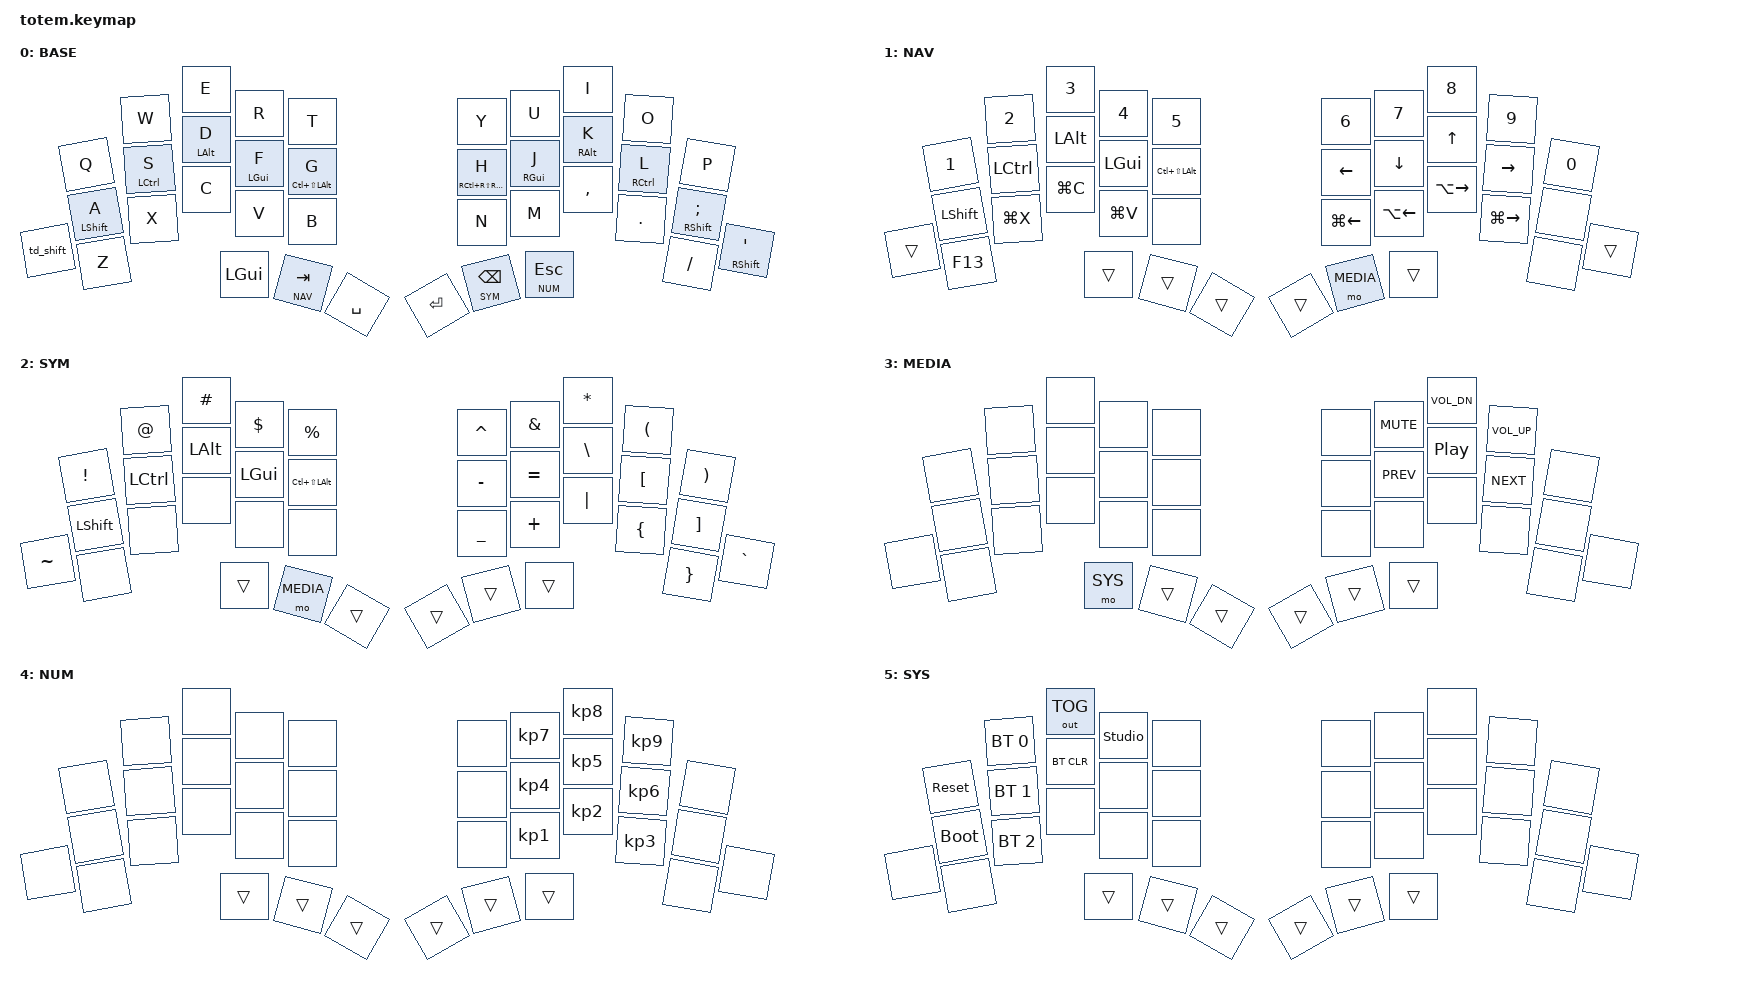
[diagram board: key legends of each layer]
//
//                                                        ▀▀▀▀▀     ▀▀▀▀▀          ▀▀█▀▀
//                                                        ▄▀▀▀▄  ▄  ▄▀▀▀▄  ▄  ▄▀▀▀▄  █  ▄▀▀▀▄
//                                                        █   █  █  █   █  █  █   █  █  █   █
//                                                         ▀▀▀   █   ▀▀▀   █   ▀▀▀   ▀   ▀▀▀
//                                                               █      ▄▄▄█▄▄▄    █   █  
//                                                               ▀      █  █  █     █▄█
//                                                             ▀▀▀▀▀    █  █  █      ▀
//                                                                      ▀  ▀  ▀
//
// ▄▄▄▄▄▄▄▄▄▄▄▄▄▄▄▄▄▄▄▄▄▄▄▄▄▄▄▄▄▄▄▄▄▄▄▄▄▄▄▄▄▄▄▄▄▄▄▄▄▄▄▄▄▄▄▄▄▄▄▄▄▄▄▄▄▄▄▄▄▄▄▄▄▄▄▄▄▄▄▄▄▄▄▄▄▄▄▄▄▄▄▄▄▄▄▄▄▄▄▄▄▄▄▄▄▄▄▄▄▄▄▄▄▄▄▄▄▄▄▄▄▄▄▄▄▄▄▄▄▄▄▄▄▄▄▄▄▄▄▄▄▄▄▄▄▄▄▄▄

#include <behaviors.dtsi>
#include <dt-bindings/zmk/keys.h>
#include <dt-bindings/zmk/bt.h>
#include <dt-bindings/zmk/outputs.h>

#define BASE  0
#define NAV   1
#define SYM   2
#define MEDIA 3
#define NUM   4
#define SYS   5

// mod-tap settings for HRM
&mt {
  tapping-term-ms = <170>;
  quick-tap-ms = <200>;
  require-prior-idle-ms = <100>;
  flavor = "tap-preferred";
};

// layer-tap settings for thumb cluster
&lt {
  tapping-term-ms = <170>;
  quick-tap-ms = <200>;
  flavor = "hold-preferred";
};

/ {
     combos {
            compatible = "zmk,combos";
            combo_esc {
                timeout-ms = <50>;
                key-positions = <0 1>;
                bindings = <&kp ESC>;
                layers = <BASE>; 
            };
            combo_capsword {
                timeout-ms = <50>;
                key-positions = <10 19>;
                bindings = <&caps_word>;
                layers = <BASE>;
            };
    };

    behaviors {
      td_shift: td_shift {
        compatible = "zmk,behavior-tap-dance";
        #binding-cells = <0>;
        bindings = <&kp LSHFT>, <&caps_word>;
      };
    };

    macros {
        gif: gif {
            label = "giphy";
            compatible = "zmk,behavior-macro";
            #binding-cells = <0>;
            bindings
                = <&macro_press &kp LSHFT>
                , <&macro_tap &kp N2>
                , <&macro_release &kp LSHFT>
                , <&macro_tap &kp G &kp I &kp F>
                ;
        };
    };

        keymap {
                compatible = "zmk,keymap";
// ▄▄▄▄▄▄▄▄▄▄▄▄▄▄▄▄▄▄▄▄▄▄▄▄▄▄▄▄▄▄▄▄▄▄▄▄▄▄▄▄▄▄▄▄▄▄▄▄▄▄▄▄▄▄▄▄▄▄▄▄▄▄▄▄▄▄▄▄▄▄▄▄▄▄▄▄▄▄▄▄▄▄▄▄▄▄▄▄▄▄▄▄▄▄▄▄▄▄▄▄▄▄▄▄▄▄▄▄▄▄▄▄▄▄▄▄▄▄▄▄▄▄▄▄▄▄▄▄▄▄▄▄▄▄▄▄▄▄▄▄▄▄▄▄▄▄▄▄▄

                base_layer {
// ┏━━━━━━━━━━━━━━━━━━━━━━━━━━━━━━━━━━━━━━━┓
label= "BASE"                              ;
// ┗━━━━━━━━━━━━━━━━━━━━━━━━━━━━━━━━━━━━━━━┛
//             ┏━━━━━━━━━━━┳━━━━━━━━━━━┳━━━━━━━━━━━┳━━━━━━━━━━━┳━━━━━━━━━━━┓   ┏━━━━━━━━━━━┳━━━━━━━━━━━┳━━━━━━━━━━━┳━━━━━━━━━━━┳━━━━━━━━━━━┓
//             ┃     Q     ┃     W     ┃     E     ┃     R     ┃     T     ┃   ┃     Y     ┃     U     ┃     I     ┃     O     ┃     P     ┃
//             ┣━━━━━━━━━━━╋━━━━━━━━━━━╋━━━━━━━━━━━╋━━━━━━━━━━━╋━━━━━━━━━━━┫   ┣━━━━━━━━━━━╋━━━━━━━━━━━╋━━━━━━━━━━━╋━━━━━━━━━━━╋━━━━━━━━━━━┫
//             ┃   A/SFT   ┃   S/CTL   ┃   D/ALT   ┃   F/GUI   ┃   G/MEH   ┃   ┃   H/MEH   ┃   J/GUI   ┃   K/ALT   ┃   L/CTL   ┃   ;/SFT   ┃
// ┏━━━━━━━━━━━╋━━━━━━━━━━━╋━━━━━━━━━━━╋━━━━━━━━━━━╋━━━━━━━━━━━╋━━━━━━━━━━━┫   ┣━━━━━━━━━━━╋━━━━━━━━━━━╋━━━━━━━━━━━╋━━━━━━━━━━━╋━━━━━━━━━━━╋━━━━━━━━━━━┓
// ┃   SHFT    ┃     Z     ┃     X     ┃     C     ┃     V     ┃     B     ┃   ┃     N     ┃     M     ┃     ,     ┃     .     ┃     /     ┃  '/SFT   ┃
// ┗━━━━━━━━━━━┻━━━━━━━━━━━┻━━━━━━━━━━━╋━━━━━━━━━━━╋━━━━━━━━━━━╋━━━━━━━━━━━┫   ┣━━━━━━━━━━━╋━━━━━━━━━━━╋━━━━━━━━━━━╋━━━━━━━━━━━┻━━━━━━━━━━━┻━━━━━━━━━━━┛
//                                     ┃    CMD    ┃  TAB/NAV  ┃    SPC    ┃   ┃   ENTER   ┃  BSPC/SYM ┃  ESC/NUM  ┃
//                                     ┗━━━━━━━━━━━┻━━━━━━━━━━━┻━━━━━━━━━━━┛   ┗━━━━━━━━━━━┻━━━━━━━━━━━┻━━━━━━━━━━━┛
 bindings = <
// ╷           ╷           ╷           ╷           ╷           ╷           ╷   ╷           ╷           ╷           ╷           ╷           ╷           ╷

                &kp Q       &kp W       &kp E       &kp R       &kp T           &kp Y       &kp U       &kp I       &kp O       &kp P
                &mt LSHFT A &mt LCTRL S &mt LALT D  &mt LGUI F  &mt LC(LS(LALT)) G   &mt RC(RS(RALT)) H &mt RGUI J  &mt RALT K  &mt RCTRL L &mt RSHFT SEMI
    &td_shift   &kp Z       &kp X       &kp C       &kp V       &kp B           &kp N       &kp M       &kp COMMA   &kp DOT     &kp FSLH    &mt RSHFT SQT
                                        &kp LGUI    &lt NAV TAB &kp SPACE       &kp RET     &lt SYM BSPC &lt NUM ESC
                        >;
                };

// ▄▄▄▄▄▄▄▄▄▄▄▄▄▄▄▄▄▄▄▄▄▄▄▄▄▄▄▄▄▄▄▄▄▄▄▄▄▄▄▄▄▄▄▄▄▄▄▄▄▄▄▄▄▄▄▄▄▄▄▄▄▄▄▄▄▄▄▄▄▄▄▄▄▄▄▄▄▄▄▄▄▄▄▄▄▄▄▄▄▄▄▄▄▄▄▄▄▄▄▄▄▄▄▄▄▄▄▄▄▄▄▄▄▄▄▄▄▄▄▄▄▄▄▄▄▄▄▄▄▄▄▄▄▄▄▄▄▄▄▄▄▄▄▄▄▄▄▄▄


                nav_layer {
// ┏━━━━━━━━━━━━━━━━━━━━━━━━━━━━━━━━━━━━━━━┓
label= "NAV"                              ;
// ┗━━━━━━━━━━━━━━━━━━━━━━━━━━━━━━━━━━━━━━━┛
//             ┏━━━━━━━━━━━┳━━━━━━━━━━━┳━━━━━━━━━━━┳━━━━━━━━━━━┳━━━━━━━━━━━┓   ┏━━━━━━━━━━━┳━━━━━━━━━━━┳━━━━━━━━━━━┳━━━━━━━━━━━┳━━━━━━━━━━━┓
//             ┃     1     ┃     2     ┃     3     ┃     4     ┃     5     ┃   ┃     6     ┃     7     ┃     8     ┃     9     ┃     0     ┃
//             ┣━━━━━━━━━━━╋━━━━━━━━━━━╋━━━━━━━━━━━╋━━━━━━━━━━━╋━━━━━━━━━━━┫   ┣━━━━━━━━━━━╋━━━━━━━━━━━╋━━━━━━━━━━━╋━━━━━━━━━━━╋━━━━━━━━━━━┫
//             ┃    SFT    ┃    CTL    ┃    ALT    ┃    GUI    ┃    MEH    ┃   ┃   LEFT    ┃   DOWN    ┃    UP     ┃   RIGHT   ┃           ┃
// ┏━━━━━━━━━━━╋━━━━━━━━━━━╋━━━━━━━━━━━╋━━━━━━━━━━━╋━━━━━━━━━━━╋━━━━━━━━━━━┫   ┣━━━━━━━━━━━╋━━━━━━━━━━━╋━━━━━━━━━━━╋━━━━━━━━━━━╋━━━━━━━━━━━╋━━━━━━━━━━━┓
// ┃           ┃    F13    ┃   CMD+X   ┃   CMD+C   ┃   CMD+V   ┃           ┃   ┃   GUI←    ┃   ALT←    ┃   ALT→    ┃   GUI→    ┃           ┃           ┃
// ┗━━━━━━━━━━━┻━━━━━━━━━━━┻━━━━━━━━━━━╋━━━━━━━━━━━╋━━━━━━━━━━━╋━━━━━━━━━━━┫   ┣━━━━━━━━━━━╋━━━━━━━━━━━╋━━━━━━━━━━━╋━━━━━━━━━━━┻━━━━━━━━━━━┻━━━━━━━━━━━┛
//                                     ┃           ┃           ┃           ┃   ┃           ┃   MEDIA   ┃           ┃
//                                     ┗━━━━━━━━━━━┻━━━━━━━━━━━┻━━━━━━━━━━━┛   ┗━━━━━━━━━━━┻━━━━━━━━━━━┻━━━━━━━━━━━┛
 bindings = <
// ╷           ╷           ╷           ╷           ╷           ╷           ╷   ╷           ╷           ╷           ╷           ╷           ╷           ╷

                &kp N1      &kp N2      &kp N3      &kp N4      &kp N5          &kp N6      &kp N7      &kp N8      &kp N9      &kp N0
                &kp LSHFT   &kp LCTRL   &kp LALT    &kp LGUI    &kp LC(LS(LALT)) &kp LEFT   &kp DOWN    &kp UP      &kp RIGHT   &none
    &trans      &kp F13     &kp LG(X)   &kp LG(C)   &kp LG(V)   &none           &kp LG(LEFT) &kp LA(LEFT) &kp LA(RIGHT) &kp LG(RIGHT) &none    &trans
                                        &trans      &trans      &trans          &trans      &mo MEDIA   &trans
                        >;
                };

// ▄▄▄▄▄▄▄▄▄▄▄▄▄▄▄▄▄▄▄▄▄▄▄▄▄▄▄▄▄▄▄▄▄▄▄▄▄▄▄▄▄▄▄▄▄▄▄▄▄▄▄▄▄▄▄▄▄▄▄▄▄▄▄▄▄▄▄▄▄▄▄▄▄▄▄▄▄▄▄▄▄▄▄▄▄▄▄▄▄▄▄▄▄▄▄▄▄▄▄▄▄▄▄▄▄▄▄▄▄▄▄▄▄▄▄▄▄▄▄▄▄▄▄▄▄▄▄▄▄▄▄▄▄▄▄▄▄▄▄▄▄▄▄▄▄▄▄▄▄


                sym_layer {
// ┏━━━━━━━━━━━━━━━━━━━━━━━━━━━━━━━━━━━━━━━┓
label= "SYM"                               ;
// ┗━━━━━━━━━━━━━━━━━━━━━━━━━━━━━━━━━━━━━━━┛
//             ┏━━━━━━━━━━━┳━━━━━━━━━━━┳━━━━━━━━━━━┳━━━━━━━━━━━┳━━━━━━━━━━━┓   ┏━━━━━━━━━━━┳━━━━━━━━━━━┳━━━━━━━━━━━┳━━━━━━━━━━━┳━━━━━━━━━━━┓
//             ┃     !     ┃     @     ┃     #     ┃     $     ┃     %     ┃   ┃     ^     ┃     &     ┃     *     ┃     (     ┃     )     ┃
//             ┣━━━━━━━━━━━╋━━━━━━━━━━━╋━━━━━━━━━━━╋━━━━━━━━━━━╋━━━━━━━━━━━┫   ┣━━━━━━━━━━━╋━━━━━━━━━━━╋━━━━━━━━━━━╋━━━━━━━━━━━╋━━━━━━━━━━━┫
//             ┃    SFT    ┃    CTL    ┃    ALT    ┃    GUI    ┃    MEH    ┃   ┃     -     ┃     =     ┃     \     ┃     [     ┃     ]     ┃
// ┏━━━━━━━━━━━╋━━━━━━━━━━━╋━━━━━━━━━━━╋━━━━━━━━━━━╋━━━━━━━━━━━╋━━━━━━━━━━━┫   ┣━━━━━━━━━━━╋━━━━━━━━━━━╋━━━━━━━━━━━╋━━━━━━━━━━━╋━━━━━━━━━━━╋━━━━━━━━━━━┓
// ┃     ~     ┃           ┃           ┃           ┃           ┃           ┃   ┃     _     ┃     +     ┃     |     ┃     {     ┃     }     ┃     `     ┃
// ┗━━━━━━━━━━━┻━━━━━━━━━━━┻━━━━━━━━━━━╋━━━━━━━━━━━╋━━━━━━━━━━━╋━━━━━━━━━━━┫   ┣━━━━━━━━━━━╋━━━━━━━━━━━╋━━━━━━━━━━━╋━━━━━━━━━━━┻━━━━━━━━━━━┻━━━━━━━━━━━┛
//                                     ┃           ┃   MEDIA   ┃           ┃   ┃           ┃           ┃           ┃
//                                     ┗━━━━━━━━━━━┻━━━━━━━━━━━┻━━━━━━━━━━━┛   ┗━━━━━━━━━━━┻━━━━━━━━━━━┻━━━━━━━━━━━┛
 bindings = <
// ╷           ╷           ╷           ╷           ╷           ╷           ╷   ╷           ╷           ╷           ╷           ╷           ╷           ╷

                &kp EXCL    &kp AT      &kp HASH    &kp DLLR    &kp PRCNT       &kp CARET   &kp AMPS    &kp ASTRK   &kp LPAR    &kp RPAR
                &kp LSHFT   &kp LCTRL   &kp LALT    &kp LGUI    &kp LC(LS(LALT)) &kp MINUS  &kp EQUAL   &kp BSLH    &kp LBKT    &kp RBKT
    &kp TILDE   &none       &none       &none       &none       &none           &kp UNDER   &kp PLUS    &kp PIPE    &kp LBRC    &kp RBRC    &kp GRAVE
                                        &trans      &mo MEDIA   &trans          &trans      &trans      &trans
                        >;
                };

// ▄▄▄▄▄▄▄▄▄▄▄▄▄▄▄▄▄▄▄▄▄▄▄▄▄▄▄▄▄▄▄▄▄▄▄▄▄▄▄▄▄▄▄▄▄▄▄▄▄▄▄▄▄▄▄▄▄▄▄▄▄▄▄▄▄▄▄▄▄▄▄▄▄▄▄▄▄▄▄▄▄▄▄▄▄▄▄▄▄▄▄▄▄▄▄▄▄▄▄▄▄▄▄▄▄▄▄▄▄▄▄▄▄▄▄▄▄▄▄▄▄▄▄▄▄▄▄▄▄▄▄▄▄▄▄▄▄▄▄▄▄▄▄▄▄▄▄▄▄


                media_layer {
// ┏━━━━━━━━━━━━━━━━━━━━━━━━━━━━━━━━━━━━━━━┓
label= "MEDIA"                             ;
// ┗━━━━━━━━━━━━━━━━━━━━━━━━━━━━━━━━━━━━━━━┛
//             ┏━━━━━━━━━━━┳━━━━━━━━━━━┳━━━━━━━━━━━┳━━━━━━━━━━━┳━━━━━━━━━━━┓   ┏━━━━━━━━━━━┳━━━━━━━━━━━┳━━━━━━━━━━━┳━━━━━━━━━━━┳━━━━━━━━━━━┓
//             ┃           ┃           ┃           ┃           ┃           ┃   ┃           ┃   MUTE    ┃   VOL-    ┃   VOL+    ┃           ┃
//             ┣━━━━━━━━━━━╋━━━━━━━━━━━╋━━━━━━━━━━━╋━━━━━━━━━━━╋━━━━━━━━━━━┫   ┣━━━━━━━━━━━╋━━━━━━━━━━━╋━━━━━━━━━━━╋━━━━━━━━━━━╋━━━━━━━━━━━┫
//             ┃           ┃           ┃           ┃           ┃           ┃   ┃           ┃   PREV    ┃   PLAY    ┃   NEXT    ┃           ┃
// ┏━━━━━━━━━━━╋━━━━━━━━━━━╋━━━━━━━━━━━╋━━━━━━━━━━━╋━━━━━━━━━━━╋━━━━━━━━━━━┫   ┣━━━━━━━━━━━╋━━━━━━━━━━━╋━━━━━━━━━━━╋━━━━━━━━━━━╋━━━━━━━━━━━╋━━━━━━━━━━━┓
// ┃           ┃           ┃           ┃           ┃           ┃           ┃   ┃           ┃           ┃           ┃           ┃           ┃           ┃
// ┗━━━━━━━━━━━┻━━━━━━━━━━━┻━━━━━━━━━━━╋━━━━━━━━━━━╋━━━━━━━━━━━╋━━━━━━━━━━━┫   ┣━━━━━━━━━━━╋━━━━━━━━━━━╋━━━━━━━━━━━╋━━━━━━━━━━━┻━━━━━━━━━━━┻━━━━━━━━━━━┛
//                                     ┃    SYS    ┃           ┃           ┃   ┃           ┃           ┃           ┃
//                                     ┗━━━━━━━━━━━┻━━━━━━━━━━━┻━━━━━━━━━━━┛   ┗━━━━━━━━━━━┻━━━━━━━━━━━┻━━━━━━━━━━━┛
 bindings = <
// ╷           ╷           ╷           ╷           ╷           ╷           ╷   ╷           ╷           ╷           ╷           ╷           ╷           ╷

                &none       &none       &none       &none       &none           &none       &kp C_MUTE  &kp C_VOL_DN &kp C_VOL_UP &none
                &none       &none       &none       &none       &none           &none       &kp C_PREV  &kp C_PP    &kp C_NEXT  &none
    &none       &none       &none       &none       &none       &none           &none       &none       &none       &none       &none       &none
                                         &mo SYS    &trans     &trans          &trans      &trans      &trans
                        >;
                };

// ▄▄▄▄▄▄▄▄▄▄▄▄▄▄▄▄▄▄▄▄▄▄▄▄▄▄▄▄▄▄▄▄▄▄▄▄▄▄▄▄▄▄▄▄▄▄▄▄▄▄▄▄▄▄▄▄▄▄▄▄▄▄▄▄▄▄▄▄▄▄▄▄▄▄▄▄▄▄▄▄▄▄▄▄▄▄▄▄▄▄▄▄▄▄▄▄▄▄▄▄▄▄▄▄▄▄▄▄▄▄▄▄▄▄▄▄▄▄▄▄▄▄▄▄▄▄▄▄▄▄▄▄▄▄▄▄▄▄▄▄▄▄▄▄▄▄▄▄▄


                num_layer {
// ┏━━━━━━━━━━━━━━━━━━━━━━━━━━━━━━━━━━━━━━━┓
label= "NUM"                               ;
// ┗━━━━━━━━━━━━━━━━━━━━━━━━━━━━━━━━━━━━━━━┛
//             ┏━━━━━━━━━━━┳━━━━━━━━━━━┳━━━━━━━━━━━┳━━━━━━━━━━━┳━━━━━━━━━━━┓   ┏━━━━━━━━━━━┳━━━━━━━━━━━┳━━━━━━━━━━━┳━━━━━━━━━━━┳━━━━━━━━━━━┓
//             ┃           ┃           ┃           ┃           ┃           ┃   ┃           ┃     7     ┃     8     ┃     9     ┃           ┃
//             ┣━━━━━━━━━━━╋━━━━━━━━━━━╋━━━━━━━━━━━╋━━━━━━━━━━━╋━━━━━━━━━━━┫   ┣━━━━━━━━━━━╋━━━━━━━━━━━╋━━━━━━━━━━━╋━━━━━━━━━━━╋━━━━━━━━━━━┫
//             ┃           ┃           ┃           ┃           ┃           ┃   ┃           ┃     4     ┃     5     ┃     6     ┃           ┃
// ┏━━━━━━━━━━━╋━━━━━━━━━━━╋━━━━━━━━━━━╋━━━━━━━━━━━╋━━━━━━━━━━━╋━━━━━━━━━━━┫   ┣━━━━━━━━━━━╋━━━━━━━━━━━╋━━━━━━━━━━━╋━━━━━━━━━━━╋━━━━━━━━━━━╋━━━━━━━━━━━┓
// ┃           ┃           ┃           ┃           ┃           ┃           ┃   ┃           ┃     1     ┃     2     ┃     3     ┃           ┃           ┃
// ┗━━━━━━━━━━━┻━━━━━━━━━━━┻━━━━━━━━━━━╋━━━━━━━━━━━╋━━━━━━━━━━━╋━━━━━━━━━━━┫   ┣━━━━━━━━━━━╋━━━━━━━━━━━╋━━━━━━━━━━━╋━━━━━━━━━━━┻━━━━━━━━━━━┻━━━━━━━━━━━┛
//                                     ┃           ┃           ┃           ┃   ┃           ┃           ┃           ┃
//                                     ┗━━━━━━━━━━━┻━━━━━━━━━━━┻━━━━━━━━━━━┛   ┗━━━━━━━━━━━┻━━━━━━━━━━━┻━━━━━━━━━━━┛
 bindings = <
// ╷           ╷           ╷           ╷           ╷           ╷           ╷   ╷           ╷           ╷           ╷           ╷           ╷           ╷

                &none       &none       &none       &none       &none           &none       &kp KP_N7   &kp KP_N8   &kp KP_N9   &none
                &none       &none       &none       &none       &none           &none       &kp KP_N4   &kp KP_N5   &kp KP_N6   &none
    &none       &none       &none       &none       &none       &none           &none       &kp KP_N1   &kp KP_N2   &kp KP_N3   &none       &none
                                        &trans      &trans      &trans          &trans      &trans      &trans
                        >;
                };

// ▄▄▄▄▄▄▄▄▄▄▄▄▄▄▄▄▄▄▄▄▄▄▄▄▄▄▄▄▄▄▄▄▄▄▄▄▄▄▄▄▄▄▄▄▄▄▄▄▄▄▄▄▄▄▄▄▄▄▄▄▄▄▄▄▄▄▄▄▄▄▄▄▄▄▄▄▄▄▄▄▄▄▄▄▄▄▄▄▄▄▄▄▄▄▄▄▄▄▄▄▄▄▄▄▄▄▄▄▄▄▄▄▄▄▄▄▄▄▄▄▄▄▄▄▄▄▄▄▄▄▄▄▄▄▄▄▄▄▄▄▄▄▄▄▄▄▄▄▄


                sys_layer {
// ┏━━━━━━━━━━━━━━━━━━━━━━━━━━━━━━━━━━━━━━━┓
label= "SYS"                               ;
// ┗━━━━━━━━━━━━━━━━━━━━━━━━━━━━━━━━━━━━━━━┛
//             ┏━━━━━━━━━━━┳━━━━━━━━━━━┳━━━━━━━━━━━┳━━━━━━━━━━━┳━━━━━━━━━━━┓   ┏━━━━━━━━━━━┳━━━━━━━━━━━┳━━━━━━━━━━━┳━━━━━━━━━━━┳━━━━━━━━━━━┓
//             ┃   RESET   ┃   BT 0    ┃  OUT TOG  ┃ UNLOCK ST ┃           ┃   ┃           ┃           ┃           ┃           ┃           ┃
//             ┣━━━━━━━━━━━╋━━━━━━━━━━━╋━━━━━━━━━━━╋━━━━━━━━━━━╋━━━━━━━━━━━┫   ┣━━━━━━━━━━━╋━━━━━━━━━━━╋━━━━━━━━━━━╋━━━━━━━━━━━╋━━━━━━━━━━━┫
//             ┃ BOOTLOAD  ┃   BT 1    ┃  BT CLR   ┃           ┃           ┃   ┃           ┃           ┃           ┃           ┃           ┃
// ┏━━━━━━━━━━━╋━━━━━━━━━━━╋━━━━━━━━━━━╋━━━━━━━━━━━╋━━━━━━━━━━━╋━━━━━━━━━━━┫   ┣━━━━━━━━━━━╋━━━━━━━━━━━╋━━━━━━━━━━━╋━━━━━━━━━━━╋━━━━━━━━━━━╋━━━━━━━━━━━┓
// ┃           ┃           ┃   BT 2    ┃           ┃           ┃           ┃   ┃           ┃           ┃           ┃           ┃           ┃           ┃
// ┗━━━━━━━━━━━┻━━━━━━━━━━━┻━━━━━━━━━━━╋━━━━━━━━━━━╋━━━━━━━━━━━╋━━━━━━━━━━━┫   ┣━━━━━━━━━━━╋━━━━━━━━━━━╋━━━━━━━━━━━╋━━━━━━━━━━━┻━━━━━━━━━━━┻━━━━━━━━━━━┛
//                                     ┃           ┃           ┃           ┃   ┃           ┃           ┃           ┃
//                                     ┗━━━━━━━━━━━┻━━━━━━━━━━━┻━━━━━━━━━━━┛   ┗━━━━━━━━━━━┻━━━━━━━━━━━┻━━━━━━━━━━━┛
 bindings = <
// ╷           ╷           ╷           ╷           ╷           ╷           ╷   ╷           ╷           ╷           ╷           ╷           ╷           ╷

                &sys_reset  &bt BT_SEL 0 &out OUT_TOG &studio_unlock &none     &none       &none       &none       &none       &none
                &bootloader &bt BT_SEL 1 &bt BT_CLR &none      &none           &none       &none       &none       &none       &none
    &none       &none       &bt BT_SEL 2 &none      &none      &none           &none       &none       &none       &none       &none       &none
                                         &trans     &trans     &trans          &trans      &trans      &trans
                        >;
                };

        };
};
